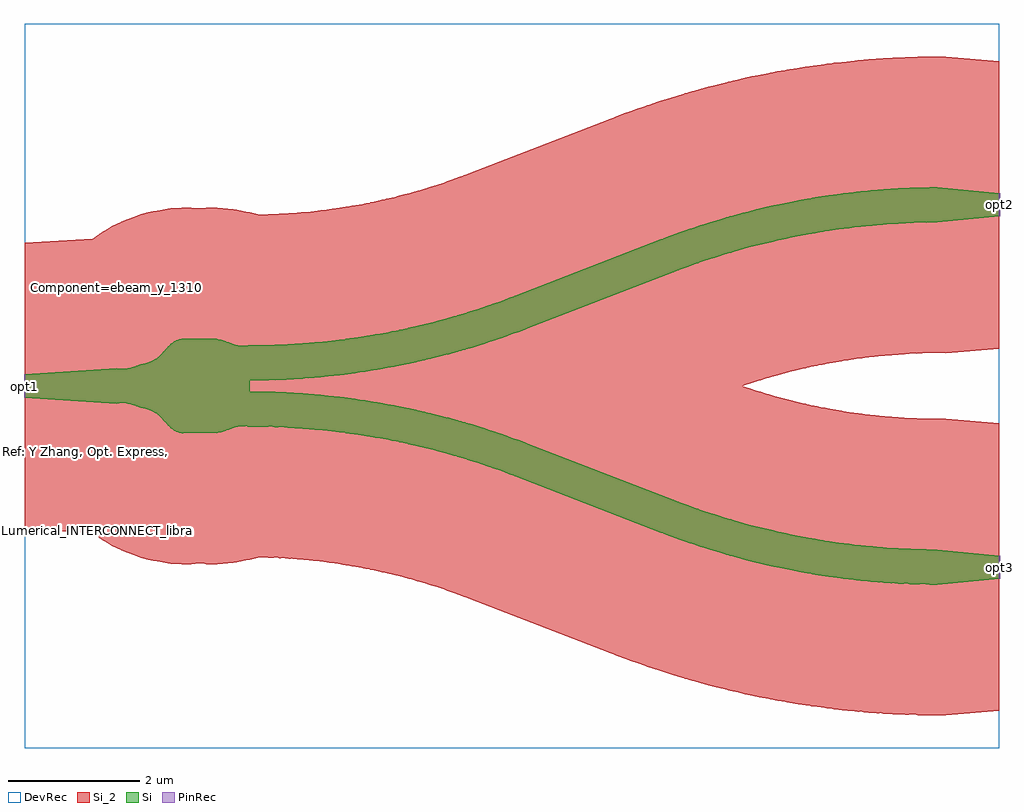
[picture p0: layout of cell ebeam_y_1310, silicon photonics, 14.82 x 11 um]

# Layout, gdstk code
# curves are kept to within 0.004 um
import gdstk
lib = gdstk.Library(unit=1e-6, precision=1e-09)
def R(c, l, rs):  # rectangles x0, y0, x1, y1
    for r in rs: c.add(gdstk.rectangle(r[:2], r[2:], *l))
def P(c, l, *ps):  # polygons
    for p in ps: c.add(gdstk.Polygon(p, *l))
Si = (1, 0)
Si_2 = (1, 2)
PinRec = (1, 10)
DevRec = (68, 0)

ebeam_y_1310 = lib.new_cell('ebeam_y_1310')
P(ebeam_y_1310, Si, [(13.858,-3.016),(13.465,-3.008),(13.117,-2.99),(12.805,-2.965),(12.422,-2.923),(12.051,-2.87),(11.654,-2.8),(11.271,-2.719),(10.879,-2.622),(10.317,-2.457),(9.806,-2.281),(7.449,-1.371),(7.026,-1.217),(6.715,-1.116),(6.362,-1.013),(5.938,-0.907),(5.641,-0.842),(5.198,-0.761),(4.721,-0.694),(4.274,-0.65),(3.826,-0.624),(3.277,-0.611),(3.198,-0.624),(2.997,-0.696),(2.91,-0.715),(2.39,-0.715),(2.294,-0.689),(2.233,-0.651),(2.184,-0.605),(2.045,-0.451),(1.971,-0.399),(1.859,-0.353),(1.6,-0.273),(1.534,-0.262),(1.402,-0.266),(0,-0.175),(0,0.175),(1.402,0.266),(1.516,0.261),(1.6,0.273),(1.859,0.353),(1.971,0.399),(2.045,0.451),(2.184,0.605),(2.233,0.651),(2.294,0.689),(2.39,0.715),(2.91,0.715),(2.997,0.696),(3.198,0.624),(3.278,0.611),(3.941,0.629),(4.404,0.661),(4.895,0.716),(5.357,0.788),(5.864,0.89),(6.204,0.971),(6.515,1.056),(6.82,1.149),(7.11,1.246),(7.449,1.371),(9.705,2.243),(10.258,2.438),(10.657,2.56),(11.11,2.681),(11.462,2.761),(11.754,2.819),(12.209,2.894),(12.626,2.947),(13.059,2.986),(13.465,3.008),(13.858,3.016),(14.8,2.925),(14.8,2.575),(13.856,2.484),(13.53,2.478),(13.196,2.462),(12.873,2.437),(12.521,2.399),(12.127,2.343),(11.775,2.281),(11.436,2.21),(11.027,2.111),(10.569,1.979),(10.053,1.805),(7.595,0.857),(7.319,0.756),(6.793,0.584),(6.462,0.489),(6.19,0.419),(5.838,0.339),(5.508,0.274),(5.172,0.218),(4.838,0.172),(4.463,0.132),(4.136,0.107),(3.777,0.09),(3.416,0.084),(3.416,-0.084),(3.835,-0.092),(4.241,-0.114),(4.692,-0.155),(5.091,-0.206),(5.508,-0.274),(5.949,-0.363),(6.314,-0.45),(6.685,-0.552),(7.142,-0.695),(7.494,-0.819),(9.851,-1.729),(10.19,-1.854),(10.48,-1.951),(10.841,-2.06),(11.366,-2.194),(11.659,-2.258),(12.006,-2.323),(12.361,-2.378),(12.694,-2.419),(13.264,-2.466),(13.856,-2.484),(14.8,-2.575),(14.8,-2.925)])
P(ebeam_y_1310, Si_2, [(13.858,-5),(13.44,-4.993),(13.098,-4.977),(12.651,-4.944),(12.26,-4.903),(11.749,-4.831),(11.32,-4.756),(10.75,-4.635),(10.356,-4.536),(9.832,-4.385),(9.454,-4.262),(9.215,-4.177),(6.696,-3.207),(6.37,-3.089),(6.167,-3.023),(5.834,-2.926),(5.636,-2.874),(5.249,-2.786),(4.828,-2.711),(4.383,-2.652),(4.044,-2.622),(3.64,-2.603),(3.555,-2.602),(3.288,-2.663),(3.008,-2.701),(2.225,-2.699),(1.878,-2.635),(1.764,-2.605),(1.502,-2.51),(1.257,-2.382),(1.166,-2.326),(1.037,-2.233),(0,-2.178),(0,2.178),(1.037,2.233),(1.166,2.326),(1.257,2.382),(1.502,2.51),(1.764,2.605),(1.878,2.635),(2.225,2.699),(3.008,2.701),(3.288,2.663),(3.555,2.602),(3.812,2.609),(4.186,2.633),(4.616,2.68),(5,2.739),(5.494,2.84),(6.009,2.975),(6.273,3.057),(6.549,3.152),(8.987,4.093),(9.454,4.262),(9.709,4.346),(10.087,4.461),(10.488,4.57),(10.944,4.679),(11.426,4.776),(11.853,4.847),(12.26,4.903),(12.818,4.958),(13.293,4.987),(13.65,4.998),(13.983,5),(14.8,4.932),(14.8,0.568),(13.983,0.5),(13.559,0.494),(13.229,0.476),(12.901,0.446),(12.503,0.394),(12.051,0.314),(11.684,0.231),(11.264,0.117),(10.902,0),(11.264,-0.117),(11.67,-0.228),(12.051,-0.314),(12.52,-0.397),(12.832,-0.438),(13.229,-0.476),(13.559,-0.494),(13.983,-0.5),(14.8,-0.568),(14.8,-4.932),(13.983,-5)])
R(ebeam_y_1310, DevRec, [(0,-5.5,14.8,5.5)])
ebeam_y_1310.add(gdstk.FlexPath([(0.01,0),(-0.01,0)], 0.35, ends="flush", simple_path=True, layer=1, datatype=10))  # PinRec
ebeam_y_1310.add(gdstk.FlexPath([(14.79,2.75),(14.81,2.75)], 0.35, ends="flush", simple_path=True, layer=1, datatype=10))  # PinRec
ebeam_y_1310.add(gdstk.FlexPath([(14.79,-2.75),(14.81,-2.75)], 0.35, ends="flush", simple_path=True, layer=1, datatype=10))  # PinRec
ebeam_y_1310.add(gdstk.Label('Ref: Y Zhang, Opt. Express, 21/1, 2013', (-0.1,-1), layer=10, texttype=0))
ebeam_y_1310.add(gdstk.Label('opt2', (14.8,2.75), layer=1, texttype=10))
ebeam_y_1310.add(gdstk.Label('opt3', (14.8,-2.75), layer=1, texttype=10))
ebeam_y_1310.add(gdstk.Label('opt1', (0,0), layer=1, texttype=10))
ebeam_y_1310.add(gdstk.Label('Component=ebeam_y_1310', (1.4,1.5), layer=68, texttype=0))
ebeam_y_1310.add(gdstk.Label('Lumerical_INTERCONNECT_library=Design kits/ebeam', (0.54,-2.19), layer=68, texttype=0))

lib.write_gds('ebeam_y_1310.gds')
